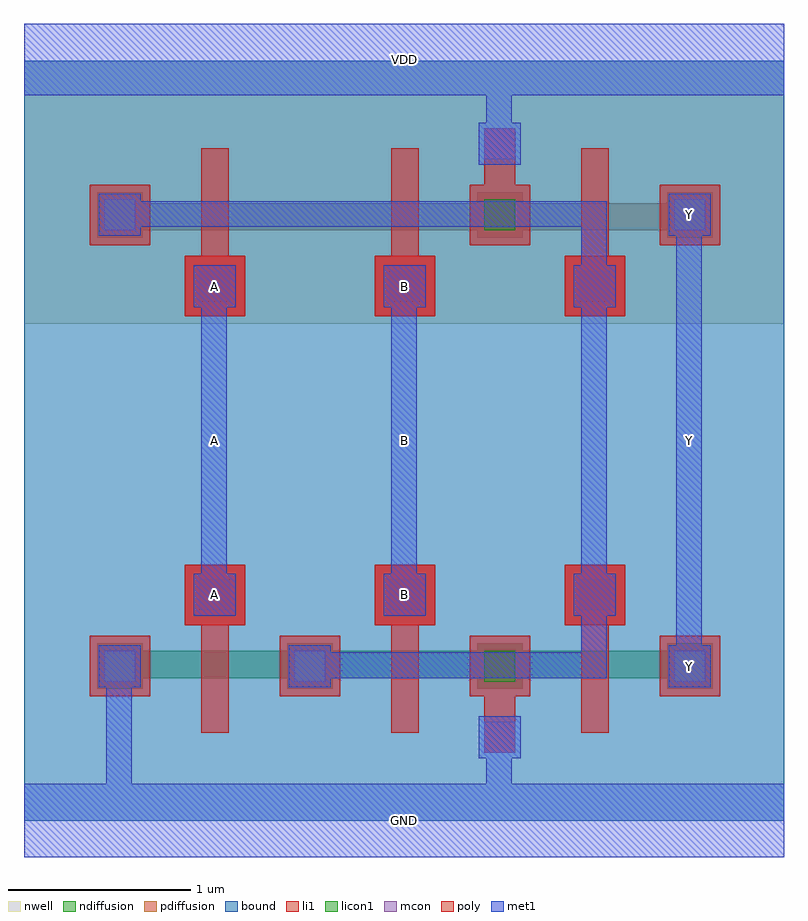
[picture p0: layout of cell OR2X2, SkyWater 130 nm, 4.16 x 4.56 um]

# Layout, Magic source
magic
# Generated by librecell
tech sky130A
<< nwell >>
rect 0 272 416 416
<< mcon >>
rect 252 37 269 54
rect 44 76 61 93
rect 148 76 165 93
rect 356 76 373 93
rect 96 115 113 132
rect 200 115 217 132
rect 304 115 321 132
rect 96 284 113 301
rect 200 284 217 301
rect 304 284 321 301
rect 44 323 61 340
rect 356 323 373 340
rect 252 362 269 379
<< poly >>
rect 97 48 112 107
rect 88 107 121 140
rect 201 48 216 107
rect 192 107 225 140
rect 305 48 320 107
rect 296 107 329 140
rect 88 276 121 309
rect 97 309 112 368
rect 192 276 225 309
rect 201 309 216 368
rect 296 276 329 309
rect 305 309 320 368
<< bound >>
rect 0 0 416 416
<< li1 >>
rect 36 68 69 101
rect 140 68 173 101
rect 252 37 269 68
rect 244 68 277 101
rect 348 68 381 101
rect 88 107 121 140
rect 192 107 225 140
rect 296 107 329 140
rect 88 276 121 309
rect 192 276 225 309
rect 296 276 329 309
rect 36 315 69 348
rect 348 315 381 348
rect 244 315 277 348
rect 252 348 269 379
<< met1 >>
rect 0 -20 416 20
rect 253 20 267 34
rect 249 34 272 57
rect 45 20 59 73
rect 41 73 64 96
rect 93 112 116 135
rect 97 135 111 281
rect 93 281 116 304
rect 197 112 220 135
rect 201 135 215 281
rect 197 281 220 304
rect 145 73 168 78
rect 145 78 319 92
rect 145 92 168 96
rect 305 92 319 112
rect 301 112 324 135
rect 305 135 319 281
rect 301 281 324 304
rect 41 320 64 325
rect 305 304 319 325
rect 41 325 319 339
rect 41 339 64 343
rect 353 73 376 96
rect 357 96 371 320
rect 353 320 376 343
rect 249 359 272 382
rect 253 382 267 397
rect 0 397 416 436
<< li1 >>
<< met1 >>
<< li1 >>
<< met1 >>
rect 0 -20 416 20
rect 93 112 116 135
rect 97 135 111 281
rect 93 281 116 304
rect 197 112 220 135
rect 201 135 215 281
rect 197 281 220 304
rect 353 73 376 96
rect 357 96 371 320
rect 353 320 376 343
rect 0 397 416 436
<< ndiffusion >>
rect 40 72 65 78
rect 144 72 169 78
rect 248 72 273 78
rect 352 72 377 78
rect 40 78 377 93
rect 40 93 65 97
rect 144 93 169 97
rect 248 93 273 97
rect 352 93 377 97
<< pdiffusion >>
rect 40 319 65 323
rect 248 319 273 323
rect 352 319 377 323
rect 40 323 377 338
rect 40 338 65 344
rect 248 338 273 344
rect 352 338 377 344
<< licon1 >>
rect 96 115 113 132
rect 200 115 217 132
rect 304 115 321 132
rect 96 284 113 301
rect 200 284 217 301
rect 304 284 321 301
<< licon1 >>
rect 44 76 61 93
rect 148 76 165 93
rect 252 76 269 93
rect 356 76 373 93
rect 44 323 61 340
rect 252 323 269 340
rect 356 323 373 340
<< labels >>
rlabel metal2 0 397 416 436 0 VDD
port 1 se
rlabel metal2 0 -20 416 20 0 GND
port 2 se
rlabel metal2 353 73 376 96 0 Y
port 3 se
rlabel metal2 357 96 371 320 0 Y
port 4 se
rlabel metal2 353 320 376 343 0 Y
port 5 se
rlabel metal2 197 112 220 135 0 B
port 6 se
rlabel metal2 201 135 215 281 0 B
port 7 se
rlabel metal2 197 281 220 304 0 B
port 8 se
rlabel metal2 93 112 116 135 0 A
port 9 se
rlabel metal2 97 135 111 281 0 A
port 10 se
rlabel metal2 93 281 116 304 0 A
port 11 se
<< end >>
